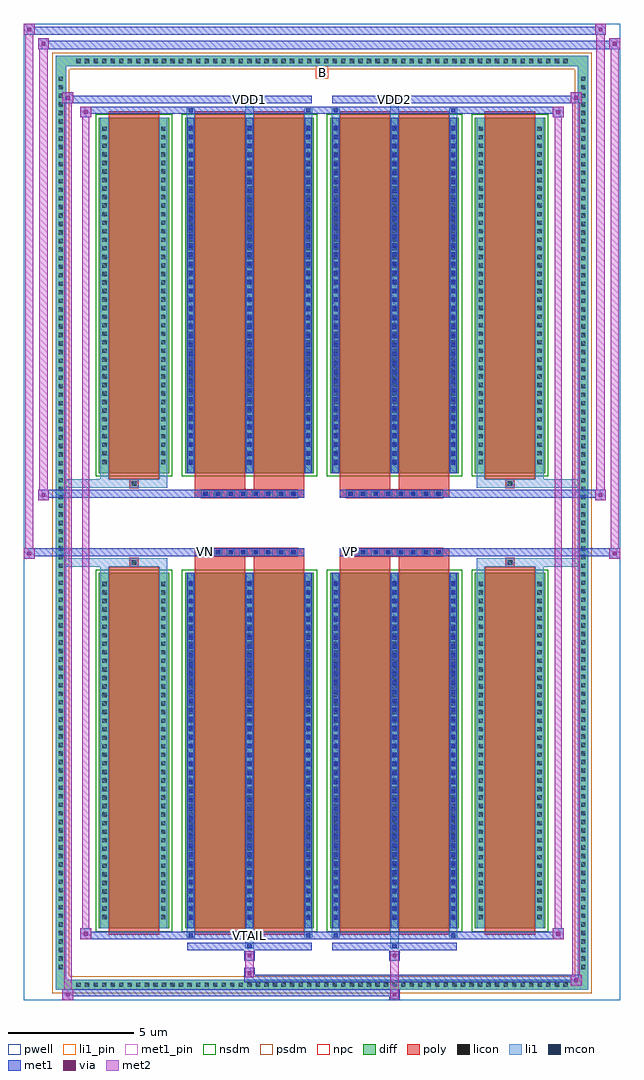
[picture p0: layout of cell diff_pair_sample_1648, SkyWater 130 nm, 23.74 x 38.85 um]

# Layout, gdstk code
import gdstk
lib = gdstk.Library(unit=1e-6, precision=5e-09)
def R(c, l, rs):  # rectangles x0, y0, x1, y1
    for r in rs: c.add(gdstk.rectangle(r[:2], r[2:], *l))
def A(c, l, x, y, w, h, nx, ny, dx, dy):  # array of equal rectangles
    R(c, l, [(x+i*dx, y+j*dy, x+i*dx+w, y+j*dy+h) for i in range(nx) for j in range(ny)])
def P(c, l, *ps):  # polygons
    for p in ps: c.add(gdstk.Polygon(p, *l))
pwell = (64, 44)
diff = (65, 20)
poly = (66, 20)
licon = (66, 44)
li1_pin = (67, 16)
li1 = (67, 20)
mcon = (67, 44)
met1_pin = (68, 16)
met1 = (68, 20)
via = (68, 44)
met2 = (69, 20)
nsdm = (93, 44)
psdm = (94, 20)
npc = (95, 20)

diff_pair_sample_1648 = lib.new_cell('diff_pair_sample_1648')
R(diff_pair_sample_1648, pwell, [(-11.87,-18.99,11.87,19.86), (-9.19,-17.18,-0.01,-0.8), (0.01,-17.18,9.19,-0.8), (-9.19,0.8,-0.01,17.18), (0.01,0.8,9.19,17.18)])
A(diff_pair_sample_1648, diff, -9.895, -18.59, 0.41, 0.41, 58, 2, 0.34, 36.77)
A(diff_pair_sample_1648, diff, -10.6, -17.885, 0.41, 0.41, 1, 105, 0, 0.34)
A(diff_pair_sample_1648, diff, 10.19, -17.885, 0.41, 0.41, 1, 105, 0, 0.34)
R(diff_pair_sample_1648, diff, [(-9.895,-18.59,9.895,-18.18), (-10.6,-17.885,-10.19,17.885), (10.19,-17.885,10.6,17.885), (-8.88,-16.135,-6.09,-1.985), (-5.45,-16.135,-0.32,-1.985), (0.32,-16.135,5.45,-1.985), (6.09,-16.135,8.88,-1.985), (-8.88,1.985,-6.09,16.135), (-5.45,1.985,-0.32,16.135), (0.32,1.985,5.45,16.135), (6.09,1.985,8.88,16.135), (-9.895,18.18,9.895,18.59)])
P(diff_pair_sample_1648, diff, [(10.6,18.59),(-10.6,18.59),(-10.6,-18.18),(-10.19,-18.18),(-10.19,18.18),(10.19,18.18),(10.19,-18.18),(-10.19,-18.18),(-10.6,-18.18),(-10.6,-18.59),(10.6,-18.59)])
A(diff_pair_sample_1648, poly, -4.8, -1.33, 0.33, 0.33, 8, 2, 0.5, 2.33)
A(diff_pair_sample_1648, poly, 0.97, -1.33, 0.33, 0.33, 8, 2, 0.5, 2.33)
R(diff_pair_sample_1648, poly, [(-8.49,-16.385,-6.48,-1.735), (-5.06,-16.385,-3.05,-1.735), (-2.72,-16.385,-0.71,-1.735), (0.71,-16.385,2.72,-1.735), (3.05,-16.385,5.06,-1.735), (6.48,-16.385,8.49,-1.735), (-7.65,-1.735,-7.32,-1.405), (-7.65,-1.735,-7.32,-1.405), (-5.06,-1.735,-3.05,-1.33), (-2.72,-1.735,-0.71,-1.33), (0.71,-1.735,2.72,-1.33), (3.05,-1.735,5.06,-1.33), (7.32,-1.735,7.65,-1.405), (7.32,-1.735,7.65,-1.405), (-5.06,-1.33,-0.71,-1), (0.71,-1.33,5.06,-1), (-5.06,1,-0.71,1.33), (0.71,1,5.06,1.33), (-5.06,1.33,-3.05,1.735), (-2.72,1.33,-0.71,1.735), (0.71,1.33,2.72,1.735), (3.05,1.33,5.06,1.735), (-7.65,1.405,-7.32,1.735), (-7.65,1.405,-7.32,1.735), (7.32,1.405,7.65,1.735), (7.32,1.405,7.65,1.735), (-8.49,1.735,-6.48,16.385), (-5.06,1.735,-3.05,16.385), (-2.72,1.735,-0.71,16.385), (0.71,1.735,2.72,16.385), (3.05,1.735,5.06,16.385), (6.48,1.735,8.49,16.385)])
A(diff_pair_sample_1648, licon, -9.775, -18.47, 0.17, 0.17, 58, 2, 0.34, 36.77)
A(diff_pair_sample_1648, licon, -10.48, -17.765, 0.17, 0.17, 1, 105, 0, 0.34)
A(diff_pair_sample_1648, licon, 10.31, -17.765, 0.17, 0.17, 1, 105, 0, 0.34)
A(diff_pair_sample_1648, licon, -8.74, -15.775, 0.17, 0.17, 1, 40, 0, 0.34)
A(diff_pair_sample_1648, licon, -6.4, -15.775, 0.17, 0.17, 1, 40, 0, 0.34)
A(diff_pair_sample_1648, licon, -5.31, -15.775, 0.17, 0.17, 3, 40, 2.34, 0.34)
A(diff_pair_sample_1648, licon, 0.46, -15.775, 0.17, 0.17, 3, 40, 2.34, 0.34)
A(diff_pair_sample_1648, licon, 6.23, -15.775, 0.17, 0.17, 1, 40, 0, 0.34)
A(diff_pair_sample_1648, licon, 8.57, -15.775, 0.17, 0.17, 1, 40, 0, 0.34)
A(diff_pair_sample_1648, licon, -4.72, -1.25, 0.17, 0.17, 8, 2, 0.5, 2.33)
A(diff_pair_sample_1648, licon, 1.05, -1.25, 0.17, 0.17, 8, 2, 0.5, 2.33)
A(diff_pair_sample_1648, licon, -8.74, 2.345, 0.17, 0.17, 1, 40, 0, 0.34)
A(diff_pair_sample_1648, licon, -6.4, 2.345, 0.17, 0.17, 1, 40, 0, 0.34)
A(diff_pair_sample_1648, licon, -5.31, 2.345, 0.17, 0.17, 3, 40, 2.34, 0.34)
A(diff_pair_sample_1648, licon, 0.46, 2.345, 0.17, 0.17, 3, 40, 2.34, 0.34)
A(diff_pair_sample_1648, licon, 6.23, 2.345, 0.17, 0.17, 1, 40, 0, 0.34)
A(diff_pair_sample_1648, licon, 8.57, 2.345, 0.17, 0.17, 1, 40, 0, 0.34)
R(diff_pair_sample_1648, licon, [(-7.57,-1.655,-7.4,-1.485), (7.4,-1.655,7.57,-1.485), (-7.57,1.485,-7.4,1.655), (7.4,1.485,7.57,1.655)])
R(diff_pair_sample_1648, li1_pin, [(-0.25,17.68,0.25,18.18)])
A(diff_pair_sample_1648, li1, -9.855, -18.55, 0.33, 0.33, 58, 2, 0.34, 36.77)
A(diff_pair_sample_1648, li1, -10.56, -17.845, 0.33, 0.33, 1, 105, 0, 0.34)
A(diff_pair_sample_1648, li1, 10.23, -17.845, 0.33, 0.33, 1, 105, 0, 0.34)
A(diff_pair_sample_1648, li1, -5.39, -16.135, 0.33, 14.15, 3, 2, 2.34, 18.12)
A(diff_pair_sample_1648, li1, 0.38, -16.135, 0.33, 14.15, 3, 2, 2.34, 18.12)
A(diff_pair_sample_1648, li1, -8.82, -15.855, 0.33, 0.33, 1, 40, 0, 0.34)
A(diff_pair_sample_1648, li1, -6.48, -15.855, 0.33, 0.33, 1, 40, 0, 0.34)
A(diff_pair_sample_1648, li1, -5.39, -15.855, 0.33, 0.33, 3, 40, 2.34, 0.34)
A(diff_pair_sample_1648, li1, 0.38, -15.855, 0.33, 0.33, 3, 40, 2.34, 0.34)
A(diff_pair_sample_1648, li1, 6.15, -15.855, 0.33, 0.33, 1, 40, 0, 0.34)
A(diff_pair_sample_1648, li1, 8.49, -15.855, 0.33, 0.33, 1, 40, 0, 0.34)
A(diff_pair_sample_1648, li1, -5.31, -15.805, 0.17, 0.17, 3, 38, 2.34, 0.36)
A(diff_pair_sample_1648, li1, -5.31, -15.805, 0.17, 13.49, 3, 2, 2.34, 18.12)
A(diff_pair_sample_1648, li1, 0.46, -15.805, 0.17, 0.17, 3, 38, 2.34, 0.36)
A(diff_pair_sample_1648, li1, 0.46, -15.805, 0.17, 13.49, 3, 2, 2.34, 18.12)
A(diff_pair_sample_1648, li1, -4.8, -1.33, 0.33, 0.33, 8, 2, 0.5, 2.33)
A(diff_pair_sample_1648, li1, 0.97, -1.33, 0.33, 0.33, 8, 2, 0.5, 2.33)
A(diff_pair_sample_1648, li1, -8.82, 2.265, 0.33, 0.33, 1, 40, 0, 0.34)
A(diff_pair_sample_1648, li1, -6.48, 2.265, 0.33, 0.33, 1, 40, 0, 0.34)
A(diff_pair_sample_1648, li1, -5.39, 2.265, 0.33, 0.33, 3, 40, 2.34, 0.34)
A(diff_pair_sample_1648, li1, 0.38, 2.265, 0.33, 0.33, 3, 40, 2.34, 0.34)
A(diff_pair_sample_1648, li1, 6.15, 2.265, 0.33, 0.33, 1, 40, 0, 0.34)
A(diff_pair_sample_1648, li1, 8.49, 2.265, 0.33, 0.33, 1, 40, 0, 0.34)
A(diff_pair_sample_1648, li1, -5.31, 2.315, 0.17, 0.17, 3, 38, 2.34, 0.36)
A(diff_pair_sample_1648, li1, 0.46, 2.315, 0.17, 0.17, 3, 38, 2.34, 0.36)
R(diff_pair_sample_1648, li1, [(-10.6,-18.59,-10.19,-18.18), (-10.6,-18.59,-10.19,-18.18), (-10.19,-18.59,10.19,-18.18), (10.19,-18.59,10.6,-18.18), (10.19,-18.59,10.6,-18.18), (-10.6,-18.18,-10.19,18.18), (10.19,-18.18,10.6,18.18), (-3.05,-16.94,-2.72,-16.135), (-2.97,-16.94,-2.8,-16.77), (2.72,-16.94,3.05,-16.135), (2.8,-16.94,2.97,-16.77), (-5.39,-16.51,-5.06,-16.135), (-5.31,-16.51,-5.14,-16.34), (-0.71,-16.51,-0.38,-16.135), (-0.63,-16.51,-0.46,-16.34), (0.38,-16.51,0.71,-16.135), (0.46,-16.51,0.63,-16.34), (5.06,-16.51,5.39,-16.135), (5.14,-16.51,5.31,-16.34), (-8.82,-16.135,-8.49,-1.985), (-6.48,-16.135,-6.15,-1.985), (6.15,-16.135,6.48,-1.985), (8.49,-16.135,8.82,-1.985), (-8.82,-1.985,-8.49,-1.405), (-6.48,-1.985,-6.15,-1.405), (6.15,-1.985,6.48,-1.405), (8.49,-1.985,8.82,-1.405), (-10.6,-1.735,-7.65,-1.405), (-8.82,-1.735,-7.65,-1.405), (-7.65,-1.735,-7.32,-1.405), (-7.32,-1.735,-6.15,-1.405), (6.15,-1.735,7.32,-1.405), (7.32,-1.735,7.65,-1.405), (7.32,-1.735,10.6,-1.405), (7.65,-1.735,8.82,-1.405), (-10.6,1.405,-7.65,1.735), (-8.82,1.405,-7.65,1.735), (-8.82,1.405,-8.49,1.985), (-7.65,1.405,-7.32,1.735), (-7.32,1.405,-6.15,1.735), (-6.48,1.405,-6.15,1.985), (6.15,1.405,7.32,1.735), (6.15,1.405,6.48,1.985), (7.32,1.405,7.65,1.735), (7.32,1.405,10.6,1.735), (7.65,1.405,8.82,1.735), (8.49,1.405,8.82,1.985), (-8.82,1.985,-8.49,16.135), (-6.48,1.985,-6.15,16.135), (6.15,1.985,6.48,16.135), (8.49,1.985,8.82,16.135), (-5.39,16.135,-5.06,16.51), (-3.05,16.135,-2.72,16.94), (-0.71,16.135,-0.38,16.51), (0.38,16.135,0.71,16.51), (2.72,16.135,3.05,16.94), (5.06,16.135,5.39,16.51), (-5.31,16.34,-5.14,16.51), (-0.63,16.34,-0.46,16.51), (0.46,16.34,0.63,16.51), (5.14,16.34,5.31,16.51), (-2.97,16.77,-2.8,16.94), (2.8,16.77,2.97,16.94), (-10.6,18.18,-10.19,18.59), (-10.6,18.18,-10.19,18.59), (-10.19,18.18,10.19,18.59), (10.19,18.18,10.6,18.59), (10.19,18.18,10.6,18.59)])
A(diff_pair_sample_1648, mcon, -5.31, -15.805, 0.17, 0.17, 3, 38, 2.34, 0.36)
A(diff_pair_sample_1648, mcon, 0.46, -15.805, 0.17, 0.17, 3, 38, 2.34, 0.36)
A(diff_pair_sample_1648, mcon, -4.72, -1.25, 0.17, 0.17, 8, 2, 0.5, 2.33)
A(diff_pair_sample_1648, mcon, 1.05, -1.25, 0.17, 0.17, 8, 2, 0.5, 2.33)
A(diff_pair_sample_1648, mcon, -5.31, 2.315, 0.17, 0.17, 3, 38, 2.34, 0.36)
A(diff_pair_sample_1648, mcon, 0.46, 2.315, 0.17, 0.17, 3, 38, 2.34, 0.36)
R(diff_pair_sample_1648, mcon, [(-2.97,-16.94,-2.8,-16.77), (2.8,-16.94,2.97,-16.77), (-5.31,-16.51,-5.14,-16.34), (-0.63,-16.51,-0.46,-16.34), (0.46,-16.51,0.63,-16.34), (5.14,-16.51,5.31,-16.34), (-5.31,16.34,-5.14,16.51), (-0.63,16.34,-0.46,16.51), (0.46,16.34,0.63,16.51), (5.14,16.34,5.31,16.51), (-2.97,16.77,-2.8,16.94), (2.8,16.77,2.97,16.94)])
R(diff_pair_sample_1648, met1_pin, [(-3.02,-16.55,-2.75,-16.28), (-4.77,-1.29,-4.5,-1.02), (1,-1.29,1.27,-1.02), (-3.02,16.73,-2.75,17), (2.75,16.73,3.02,17)])
A(diff_pair_sample_1648, met1, -5.37, -16.135, 0.29, 14.15, 3, 2, 2.34, 18.12)
A(diff_pair_sample_1648, met1, 0.4, -16.135, 0.29, 14.15, 3, 2, 2.34, 18.12)
A(diff_pair_sample_1648, met1, -5.37, -15.865, 0.29, 0.29, 3, 38, 2.34, 0.36)
A(diff_pair_sample_1648, met1, 0.4, -15.865, 0.29, 0.29, 3, 38, 2.34, 0.36)
A(diff_pair_sample_1648, met1, -4.78, -1.31, 0.29, 0.29, 8, 2, 0.5, 2.33)
A(diff_pair_sample_1648, met1, 0.99, -1.31, 0.29, 0.29, 8, 2, 0.5, 2.33)
A(diff_pair_sample_1648, met1, -5.37, 2.255, 0.29, 0.29, 3, 38, 2.34, 0.36)
A(diff_pair_sample_1648, met1, 0.4, 2.255, 0.29, 0.29, 3, 38, 2.34, 0.36)
R(diff_pair_sample_1648, met1, [(-10.33,-18.99,-9.9,-18.56), (2.67,-18.99,3.1,-18.56), (-10.33,-18.85,3.1,-18.56), (9.9,-18.42,10.33,-17.99), (-3.1,-18.28,10.33,-17.99), (-3.1,-18.14,-2.67,-17.71), (-3.1,-17.43,-2.67,-17), (2.67,-17.43,3.1,-17), (-5.37,-17,-0.4,-16.71), (-3.03,-17,-2.74,-16.71), (0.4,-17,5.37,-16.71), (2.74,-17,3.03,-16.71), (-9.62,-16.57,-9.19,-16.14), (-9.62,-16.57,-5.37,-16.28), (-5.37,-16.57,-5.08,-16.28), (-5.37,-16.57,-0.4,-16.28), (-0.69,-16.57,-0.4,-16.28), (-0.4,-16.57,0.4,-16.28), (0.4,-16.57,0.69,-16.28), (0.4,-16.57,5.37,-16.28), (5.08,-16.57,5.37,-16.28), (5.37,-16.57,9.62,-16.28), (9.19,-16.57,9.62,-16.14), (-11.87,-1.43,-11.44,-1), (11.44,-1.43,11.87,-1), (-11.87,-1.33,-0.71,-1), (-5.06,-1.33,-0.71,-1), (0.71,-1.33,5.06,-1), (0.71,-1.33,11.87,-1), (-11.3,0.9,-10.87,1.33), (10.87,0.9,11.3,1.33), (-11.3,1,-5.06,1.33), (-5.06,1,-0.71,1.33), (0.71,1,5.06,1.33), (5.06,1,11.3,1.33), (-9.62,16.14,-9.19,16.57), (9.19,16.14,9.62,16.57), (-9.62,16.28,-5.37,16.57), (-5.37,16.28,-5.08,16.57), (-5.37,16.28,-0.4,16.57), (-0.69,16.28,-0.4,16.57), (-0.4,16.28,0.4,16.57), (0.4,16.28,0.69,16.57), (0.4,16.28,5.37,16.57), (5.08,16.28,5.37,16.57), (5.37,16.28,9.62,16.57), (-10.33,16.71,-9.9,17.14), (-10.33,16.71,-5.37,17), (-5.37,16.71,-0.4,17), (-3.03,16.71,-2.74,17), (0.4,16.71,5.37,17), (2.74,16.71,3.03,17), (5.37,16.71,10.33,17), (9.9,16.71,10.33,17.14), (-11.3,18.86,-10.87,19.29), (-11.3,18.86,-9.19,19.19), (-9.19,18.86,9.19,19.19), (9.19,18.86,11.87,19.19), (11.44,18.86,11.87,19.29), (-11.87,19.43,-11.44,19.86), (-11.87,19.43,-9.19,19.76), (-9.19,19.43,9.19,19.76), (9.19,19.43,11.3,19.76), (10.87,19.43,11.3,19.86)])
R(diff_pair_sample_1648, via, [(-10.19,-18.85,-10.04,-18.7), (2.81,-18.85,2.96,-18.7), (10.04,-18.28,10.19,-18.13), (-2.96,-18,-2.81,-17.85), (-2.96,-17.29,-2.81,-17.14), (2.81,-17.29,2.96,-17.14), (-9.48,-16.43,-9.33,-16.28), (9.33,-16.43,9.48,-16.28), (-11.73,-1.29,-11.58,-1.14), (11.58,-1.29,11.73,-1.14), (-11.16,1.04,-11.01,1.19), (11.01,1.04,11.16,1.19), (-9.48,16.28,-9.33,16.43), (9.33,16.28,9.48,16.43), (-10.19,16.85,-10.04,17), (10.04,16.85,10.19,17), (-11.16,19,-11.01,19.15), (11.58,19,11.73,19.15), (-11.73,19.57,-11.58,19.72), (11.01,19.57,11.16,19.72)])
R(diff_pair_sample_1648, met2, [(-10.33,-18.99,-9.9,-18.56), (-10.26,-18.99,-9.97,17.14), (-9.97,-18.99,-9.9,-18.56), (-10.28,-18.94,-9.95,-18.61), (2.72,-18.94,3.05,-18.61), (2.72,-18.61,3.05,-17.38), (9.9,-18.42,10.33,-17.99), (9.97,-18.42,10.26,17.14), (10.26,-18.42,10.33,-17.99), (9.95,-18.37,10.28,-18.04), (-3.05,-18.09,-2.72,-17.76), (-3.05,-17.76,-2.72,-17.38), (-3.05,-17.38,-2.72,-17.05), (2.72,-17.38,3.05,-17.05), (-9.62,-16.57,-9.19,-16.14), (-9.55,-16.57,-9.26,16.57), (-9.26,-16.57,-9.19,-16.14), (9.19,-16.57,9.62,-16.14), (9.26,-16.57,9.55,16.57), (9.55,-16.57,9.62,-16.14), (-9.57,-16.52,-9.24,-16.19), (9.24,-16.52,9.57,-16.19), (-11.87,-1.43,-11.44,-1), (-11.82,-1.43,-11.49,19.86), (-11.49,-1.43,-11.44,-1), (11.44,-1.43,11.87,-1), (11.49,-1.43,11.82,19.29), (11.82,-1.43,11.87,-1), (-11.82,-1.38,-11.49,-1.05), (11.49,-1.38,11.82,-1.05), (-11.3,0.9,-10.87,1.33), (-11.25,0.9,-10.92,19.29), (-10.92,0.9,-10.87,1.33), (10.87,0.9,11.3,1.33), (10.92,0.9,11.25,19.86), (11.25,0.9,11.3,1.33), (-11.25,0.95,-10.92,1.28), (10.92,0.95,11.25,1.28), (-9.62,16.14,-9.19,16.57), (-9.26,16.14,-9.19,16.57), (9.19,16.14,9.62,16.57), (9.55,16.14,9.62,16.57), (-9.57,16.19,-9.24,16.52), (9.24,16.19,9.57,16.52), (-10.33,16.71,-9.9,17.14), (-9.97,16.71,-9.9,17.14), (9.9,16.71,10.33,17.14), (10.26,16.71,10.33,17.14), (-10.28,16.76,-9.95,17.09), (9.95,16.76,10.28,17.09), (-11.3,18.86,-10.87,19.29), (-10.92,18.86,-10.87,19.29), (11.44,18.86,11.87,19.29), (11.82,18.86,11.87,19.29), (-11.25,18.91,-10.92,19.24), (11.49,18.91,11.82,19.24), (-11.87,19.43,-11.44,19.86), (-11.49,19.43,-11.44,19.86), (10.87,19.43,11.3,19.86), (11.25,19.43,11.3,19.86), (-11.82,19.48,-11.49,19.81), (10.92,19.48,11.25,19.81)])
R(diff_pair_sample_1648, nsdm, [(-9.01,-16.265,-5.96,-1.855), (-5.58,-16.265,-0.19,-1.855), (0.19,-16.265,5.58,-1.855), (5.96,-16.265,9.01,-1.855), (-9.01,1.855,-5.96,16.265), (-5.58,1.855,-0.19,16.265), (0.19,1.855,5.58,16.265), (5.96,1.855,9.01,16.265)])
P(diff_pair_sample_1648, psdm, [(10.73,18.72),(-10.73,18.72),(-10.73,-18.05),(-10.06,-18.05),(-10.06,18.05),(10.06,18.05),(10.06,-18.05),(-10.06,-18.05),(-10.73,-18.05),(-10.73,-18.72),(10.73,-18.72)])
A(diff_pair_sample_1648, npc, -4.82, -1.35, 0.37, 0.37, 8, 2, 0.5, 2.33)
A(diff_pair_sample_1648, npc, 0.95, -1.35, 0.37, 0.37, 8, 2, 0.5, 2.33)
R(diff_pair_sample_1648, npc, [(-7.67,-1.755,-7.3,-1.385), (7.3,-1.755,7.67,-1.385), (-4.82,-1.35,-3.95,-0.98), (-4.82,-1.35,-3.95,-0.98), (-4.32,-1.35,-3.45,-0.98), (-4.32,-1.35,-3.45,-0.98), (-3.82,-1.35,-2.95,-0.98), (-3.82,-1.35,-2.95,-0.98), (-3.32,-1.35,-2.45,-0.98), (-3.32,-1.35,-2.45,-0.98), (-2.82,-1.35,-1.95,-0.98), (-2.82,-1.35,-1.95,-0.98), (-2.32,-1.35,-1.45,-0.98), (-2.32,-1.35,-1.45,-0.98), (-1.82,-1.35,-0.95,-0.98), (-1.82,-1.35,-0.95,-0.98), (0.95,-1.35,1.82,-0.98), (0.95,-1.35,1.82,-0.98), (1.45,-1.35,2.32,-0.98), (1.45,-1.35,2.32,-0.98), (1.95,-1.35,2.82,-0.98), (1.95,-1.35,2.82,-0.98), (2.45,-1.35,3.32,-0.98), (2.45,-1.35,3.32,-0.98), (2.95,-1.35,3.82,-0.98), (2.95,-1.35,3.82,-0.98), (3.45,-1.35,4.32,-0.98), (3.45,-1.35,4.32,-0.98), (3.95,-1.35,4.82,-0.98), (3.95,-1.35,4.82,-0.98), (-4.82,0.98,-3.95,1.35), (-4.82,0.98,-3.95,1.35), (-4.32,0.98,-3.45,1.35), (-4.32,0.98,-3.45,1.35), (-3.82,0.98,-2.95,1.35), (-3.82,0.98,-2.95,1.35), (-3.32,0.98,-2.45,1.35), (-3.32,0.98,-2.45,1.35), (-2.82,0.98,-1.95,1.35), (-2.82,0.98,-1.95,1.35), (-2.32,0.98,-1.45,1.35), (-2.32,0.98,-1.45,1.35), (-1.82,0.98,-0.95,1.35), (-1.82,0.98,-0.95,1.35), (0.95,0.98,1.82,1.35), (0.95,0.98,1.82,1.35), (1.45,0.98,2.32,1.35), (1.45,0.98,2.32,1.35), (1.95,0.98,2.82,1.35), (1.95,0.98,2.82,1.35), (2.45,0.98,3.32,1.35), (2.45,0.98,3.32,1.35), (2.95,0.98,3.82,1.35), (2.95,0.98,3.82,1.35), (3.45,0.98,4.32,1.35), (3.45,0.98,4.32,1.35), (3.95,0.98,4.82,1.35), (3.95,0.98,4.82,1.35), (-7.67,1.385,-7.3,1.755), (7.3,1.385,7.67,1.755)])
diff_pair_sample_1648.add(gdstk.Label('VTAIL', (-2.885,-16.415), layer=68, texttype=5))
diff_pair_sample_1648.add(gdstk.Label('VN', (-4.635,-1.155), layer=68, texttype=5))
diff_pair_sample_1648.add(gdstk.Label('VP', (1.135,-1.155), layer=68, texttype=5))
diff_pair_sample_1648.add(gdstk.Label('B', (0,17.93), layer=67, texttype=5))
diff_pair_sample_1648.add(gdstk.Label('VDD2', (2.885,16.865), layer=68, texttype=5))
diff_pair_sample_1648.add(gdstk.Label('VDD1', (-2.885,16.865), layer=68, texttype=5))

lib.write_gds('diff_pair_sample_1648.gds')
